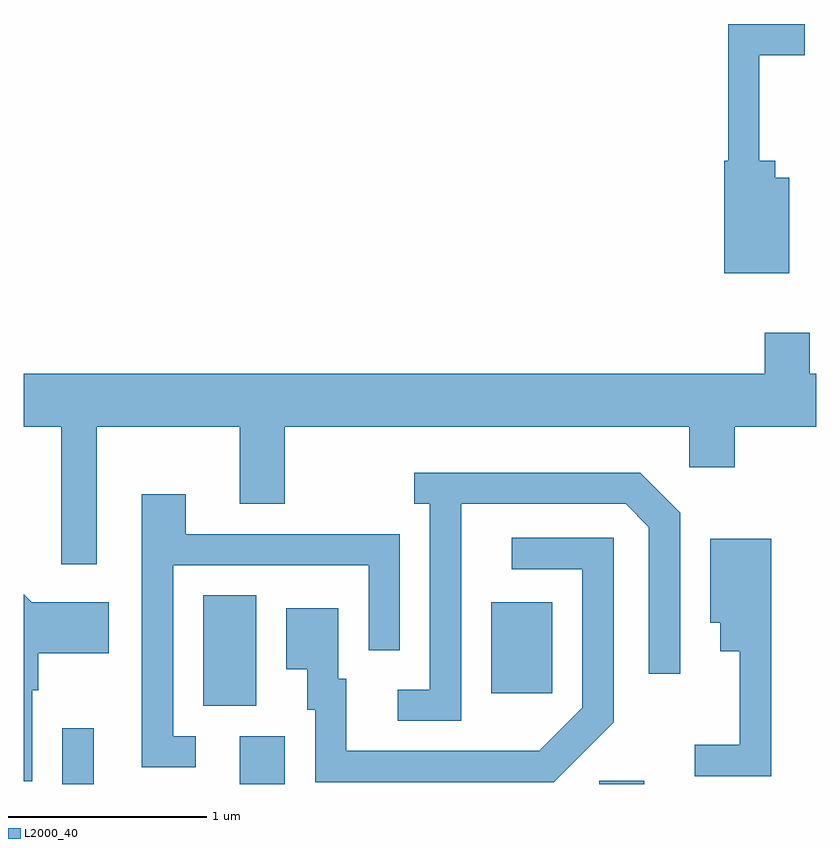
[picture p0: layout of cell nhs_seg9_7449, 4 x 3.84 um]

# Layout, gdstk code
import gdstk
lib = gdstk.Library(unit=1e-6, precision=1e-09)
def R(c, l, rs):  # rectangles x0, y0, x1, y1
    for r in rs: c.add(gdstk.rectangle(r[:2], r[2:], *l))
def P(c, l, *ps):  # polygons
    for p in ps: c.add(gdstk.Polygon(p, *l))
L2000_40 = (2000, 40)

nhs_seg9_7449 = lib.new_cell('nhs_seg9_7449')
R(nhs_seg9_7449, L2000_40, [(405.806,2014.432,405.964,2014.713), (406.701,2014.432,406.929,2014.674), (408.516,2014.432,408.744,2014.449), (406.516,2014.826,406.784,2015.384), (407.971,2014.891,408.279,2015.349)])
P(nhs_seg9_7449, L2000_40, [(409.474,2017.494),(409.404,2017.494),(409.404,2017.579),(409.324,2017.579),(409.324,2018.111),(409.553,2018.111),(409.553,2018.269),(409.166,2018.269),(409.166,2017.579),(409.146,2017.579),(409.146,2017.011),(409.474,2017.011)],
  [(405.979,2016.236),(406.701,2016.236),(406.701,2015.846),(406.929,2015.846),(406.929,2016.236),(408.971,2016.236),(408.971,2016.031),(409.199,2016.031),(409.199,2016.236),(409.611,2016.236),(409.611,2016.504),(409.579,2016.504),(409.579,2016.709),(409.351,2016.709),(409.351,2016.504),(405.611,2016.504),(405.611,2016.236),(405.801,2016.236),(405.801,2015.541),(405.979,2015.541)],
  [(407.819,2015.846),(408.649,2015.846),(408.766,2015.729),(408.766,2014.988),(408.924,2014.988),(408.924,2015.802),(408.722,2016.004),(407.583,2016.004),(407.583,2015.846),(407.661,2015.846),(407.661,2014.909),(407.498,2014.909),(407.498,2014.751),(407.819,2014.751)],
  [(406.478,2014.674),(406.364,2014.674),(406.364,2015.536),(407.351,2015.536),(407.351,2015.108),(407.509,2015.108),(407.509,2015.694),(406.429,2015.694),(406.429,2015.894),(406.206,2015.894),(406.206,2014.516),(406.478,2014.516)],
  [(408.589,2014.744),(408.589,2015.674),(408.073,2015.674),(408.073,2015.516),(408.431,2015.516),(408.431,2014.817),(408.214,2014.599),(407.239,2014.599),(407.239,2014.964),(407.199,2014.964),(407.199,2015.319),(406.936,2015.319),(406.936,2015.011),(407.041,2015.011),(407.041,2014.806),(407.081,2014.806),(407.081,2014.441),(408.287,2014.441)],
  [(409.384,2015.669),(409.076,2015.669),(409.076,2015.246),(409.126,2015.246),(409.126,2015.101),(409.226,2015.101),(409.226,2014.629),(408.998,2014.629),(408.998,2014.471),(409.384,2014.471)],
  [(405.654,2014.906),(405.684,2014.906),(405.684,2015.091),(406.039,2015.091),(406.039,2015.349),(405.652,2015.349),(405.611,2015.39),(405.611,2014.446),(405.654,2014.446)])

lib.write_gds('nhs_seg9_7449.gds')
